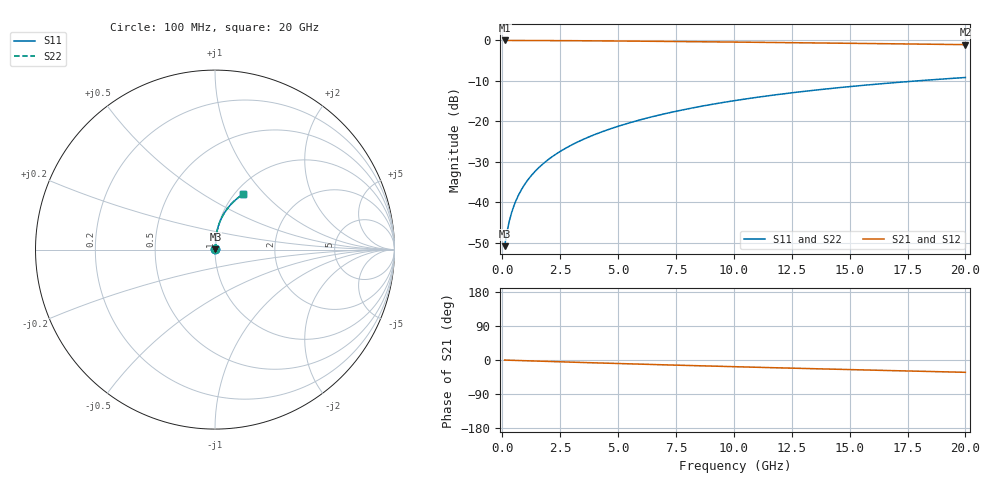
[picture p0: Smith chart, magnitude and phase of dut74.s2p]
! Touchstone file exported from HFSS 2024.1.0
!  File:  C:/UserFiles/LocalFiles/RDL_TSV_Batchsim/temp_RDL_top_74_1778682242.aedt
!  Generated:  10:26:35 PM May 13, 2026
!  Design:  RDL_top
!  Project:  temp_RDL_top_74_1778682242
!  Setup:  Setup1
!  Solution:  Sweep
! Variables:
!  dtsv = 10.80580581um
!  hbump = 3um
!  htsv = 74.04um
!  ldown = 100um
!  lrdl = 402.27um
!  p = 40
!  p1 = 58.64um
!  rhole = 1um
!  t = 450um
!  tdown = 3.915915916um
!  trdl = 3.33um
!  wdown = 15.38538539um
!  wrdl = 21.35um
# GHz S MA R 50.000000
! Terminal data exported
! Port[1] = Box2_T1
! Port[2] = Box2_T2
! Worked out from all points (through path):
!   200 points, 100 MHz to 20 GHz, reference 50 ohm
!   highest |S21| = -0.02 dB at 100 MHz (marker M1); lowest = -1.1 dB at 20 GHz (marker M2)
!   group delay of S21, straight-line fit = 4.48 ps
!   lowest |S11| = -50.9 dB at 100 MHz (marker M3), VSWR 1.01, Z = 50.2 + j0.18 ohm
!   |S11| at or under -10 dB: start of sweep to 17.95 GHz
!   |S22| runs from -50.9 to -9.2 dB; largest |S21 - S12| = 3.3e-15
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0.1  0.00285 39.0  0.9978 -0.2  0.9978 -0.2  0.00285 39.0
! Gamma 0 0 0 0
! Port Impedance 50 0 50 0
0.2  0.004229 57.1  0.9977 -0.4  0.9977 -0.4  0.004229 57.1
0.3  0.005777 65.5  0.9976 -0.6  0.9976 -0.6  0.005777 65.5
0.4  0.007363 70.3  0.9974 -0.8  0.9974 -0.8  0.007363 70.3
0.5  0.008963 73.5  0.9973 -1.0  0.9973 -1.0  0.008963 73.5
0.6  0.01057 75.7  0.9972 -1.2  0.9972 -1.2  0.01057 75.7
0.8  0.01382 78.7  0.9969 -1.5  0.9969 -1.5  0.01382 78.7
1.1  0.01874 81.3  0.9965 -2.1  0.9965 -2.1  0.01874 81.3
1.5  0.02539 83.2  0.9958 -2.9  0.9958 -2.9  0.02539 83.2
1.8  0.03043 84.0  0.9951 -3.4  0.9951 -3.4  0.03042 84.0
2.1  0.0355 84.6  0.9943 -4.0  0.9943 -4.0  0.0355 84.6
2.7  0.04578 85.1  0.9925 -5.1  0.9925 -5.1  0.04578 85.1
3.5  0.05972 85.3  0.9895 -6.6  0.9895 -6.6  0.05972 85.3
4.2  0.07215 85.1  0.9865 -7.9  0.9865 -7.9  0.07214 85.1
5  0.08658 84.6  0.9826 -9.3  0.9826 -9.3  0.08658 84.5
5.9  0.1031 83.7  0.9779 -10.9  0.9779 -10.9  0.1031 83.7
6.8  0.1197 82.7  0.9728 -12.4  0.9728 -12.4  0.1197 82.7
8.4  0.1496 80.6  0.9632 -15.1  0.9632 -15.1  0.1496 80.6
10.1  0.1811 78.1  0.9526 -17.8  0.9526 -17.8  0.1811 78.1
13.4  0.2406 73.0  0.9311 -22.9  0.9311 -22.9  0.2406 73.0
16.7  0.2963 67.9  0.9087 -27.8  0.9087 -27.8  0.2963 67.9
20  0.3475 62.9  0.8856 -32.5  0.8856 -32.5  0.3474 62.9
